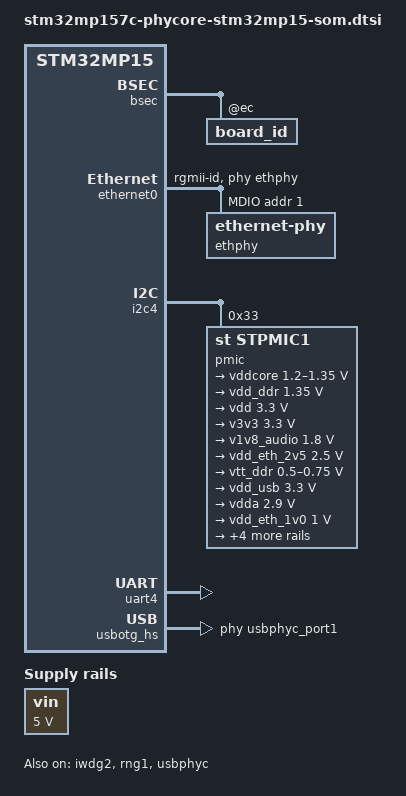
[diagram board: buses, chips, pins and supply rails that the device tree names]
// SPDX-License-Identifier: (GPL-2.0-or-later OR BSD-3-Clause)
/*
 * Copyright (C) Phytec GmbH 2019-2020 - All Rights Reserved
 * Author: Dom VOVARD <dom.vovard@linrt.com>.
 */

#include "stm32mp157c-phycore-stm32mp15-pinctrl.dtsi"
#include <dt-bindings/net/ti-dp83867.h>
#include "stm32mp151.dtsi"

/ {
	chosen {
		stdout-path = "serial0:115200n8";
	};

	aliases {
		serial0 = &uart4;
		serial1 = &usart3;
	};

	vin: vin {
		compatible = "regulator-fixed";
		regulator-name = "vin";
		regulator-min-microvolt = <5000000>;
		regulator-max-microvolt = <5000000>;
		regulator-always-on;
	};

	pwr_irq: pwr@50001020 {
		compatible = "st,stm32mp1-pwr";
		reg = <0x50001020 0x100>;
	};
};

&bsec {
	board_id: board_id@ec {
		reg = <0xec 0x4>;
		st,non-secure-otp;
	};
};

&clk_hse {
	st,digbypass;
};

&cpu0 {
	cpu-supply = <&vddcore>;
};

&cpu1 {
	cpu-supply = <&vddcore>;
};

&ethernet0 {
	pinctrl-names = "default", "sleep";
	pinctrl-0 = <&ethernet0_rgmii_pins_a>;
	pinctrl-1 = <&ethernet0_rgmii_sleep_pins_a>;
	phy-mode = "rgmii-id";
	phy-handle = <&ethphy>;
	max-speed = <1000>;
	st,eth-clk-sel;
	status = "okay";

	mdio0 {
		compatible = "snps,dwmac-mdio";
		#address-cells = <1>;
		#size-cells = <0>;

		ethphy: ethernet-phy@1 {
			reg = <1>;
		};
	};
};

&i2c4 {
	pinctrl-names = "default";
	pinctrl-0 = <&i2c4_pins_a>;
	i2c-scl-rising-time-ns = <185>;
	i2c-scl-falling-time-ns = <20>;

	pmic: stpmic@33 {
		compatible = "st,stpmic1";
		reg = <0x33>;

		regulators {
			compatible = "st,stpmic1-regulators";
			buck1-supply = <&vin>;
			buck2-supply = <&vin>;
			buck3-supply = <&vin>;
			buck4-supply = <&vin>;
			ldo1-supply = <&v3v3>;
			ldo2-supply = <&v3v3>;
			ldo3-supply = <&vdd_ddr>;
			ldo4-supply = <&vin>;
			ldo5-supply = <&v3v3>;
			ldo6-supply = <&v3v3>;
			vref_ddr-supply = <&vin>;
			boost-supply = <&vin>;
			pwr_sw1-supply = <&bst_out>;
			pwr_sw2-supply = <&bst_out>;

			vddcore: buck1 {
				regulator-name = "vddcore";
				regulator-min-microvolt = <1200000>;
				regulator-max-microvolt = <1350000>;
				regulator-always-on;
				regulator-initial-mode = <0>;
				regulator-over-current-protection;
			};

			vdd_ddr: buck2 {
				regulator-name = "vdd_ddr";
				regulator-min-microvolt = <1350000>;
				regulator-max-microvolt = <1350000>;
				regulator-always-on;
				regulator-initial-mode = <0>;
				regulator-over-current-protection;
			};

			vdd: buck3 {
				regulator-name = "vdd";
				regulator-min-microvolt = <3300000>;
				regulator-max-microvolt = <3300000>;
				regulator-always-on;
				st,mask-reset;
				regulator-initial-mode = <0>;
				regulator-over-current-protection;
			};

			v3v3: buck4 {
				regulator-name = "v3v3";
				regulator-min-microvolt = <3300000>;
				regulator-max-microvolt = <3300000>;
				regulator-always-on;
				regulator-over-current-protection;
				regulator-initial-mode = <0>;
			};

			v1v8_audio: ldo1 {
				regulator-name = "v1v8_audio";
				regulator-min-microvolt = <1800000>;
				regulator-max-microvolt = <1800000>;
				regulator-always-on;
			};

			vdd_eth_2v5: ldo2 {
				regulator-name = "vdd_eth_2v5";
				regulator-min-microvolt = <2500000>;
				regulator-max-microvolt = <2500000>;
				regulator-always-on;
			};

			vtt_ddr: ldo3 {
				regulator-name = "vtt_ddr";
				regulator-min-microvolt = <500000>;
				regulator-max-microvolt = <750000>;
				regulator-always-on;
				regulator-over-current-protection;
			};

			vdd_usb: ldo4 {
				regulator-name = "vdd_usb";
				regulator-min-microvolt = <3300000>;
				regulator-max-microvolt = <3300000>;
				regulator-always-on;
			};

			vdda: ldo5 {
				regulator-name = "vdda";
				regulator-min-microvolt = <2900000>;
				regulator-max-microvolt = <2900000>;
				regulator-boot-on;
			};

			vdd_eth_1v0: ldo6 {
				regulator-name = "vdd_eth_1v0";
				regulator-min-microvolt = <1000000>;
				regulator-max-microvolt = <1000000>;
				regulator-always-on;
			};

			vref_ddr: vref_ddr {
				regulator-name = "vref_ddr";
				regulator-always-on;
				regulator-over-current-protection;
			};

			bst_out: boost {
				regulator-name = "bst_out";
			};

			vbus_otg: pwr_sw1 {
				regulator-name = "vbus_otg";
			};

			vbus_sw: pwr_sw2 {
				regulator-name = "vbus_sw";
				regulator-active-discharge = <1>;
			};
		};
	};
};

&iwdg2 {
	timeout-sec = <32>;
	status = "okay";
};

&pwr_regulators {
	vdd-supply = <&vdd>;
	vdd_3v3_usbfs-supply = <&vdd_usb>;
};

&rng1 {
	status = "okay";
};

&sdmmc1 {
	pinctrl-names = "default";
	pinctrl-0 = <&sdmmc1_b4_pins_a>;
	disable-wp;
	st,neg-edge;
	bus-width = <4>;
	vmmc-supply = <&v3v3>;
	status = "disabled";
};

&sdmmc2 {
	pinctrl-names = "default";
	pinctrl-0 = <&sdmmc2_b4_pins_a &sdmmc2_d47_pins_a>;
	non-removable;
	no-sd;
	no-sdio;
	st,neg-edge;
	bus-width = <8>;
	vmmc-supply = <&v3v3>;
	vqmmc-supply = <&v3v3>;
	mmc-ddr-3_3v;
	status = "disabled";
};

&uart4 {
	pinctrl-names = "default";
	pinctrl-0 = <&uart4_pins_a>;
	status = "okay";
};

&usart3 {
	pinctrl-names = "default";
	pinctrl-0 = <&usart3_pins_a>;
	status = "disabled";
};

&usbotg_hs {
	phys = <&usbphyc_port1 0>;
	phy-names = "usb2-phy";
	usb-role-switch;
	status = "okay";
};

&usbphyc {
	status = "okay";
};

&usbphyc_port0 {
	phy-supply = <&vdd_usb>;
};

&usbphyc_port1 {
	phy-supply = <&vdd_usb>;
};
